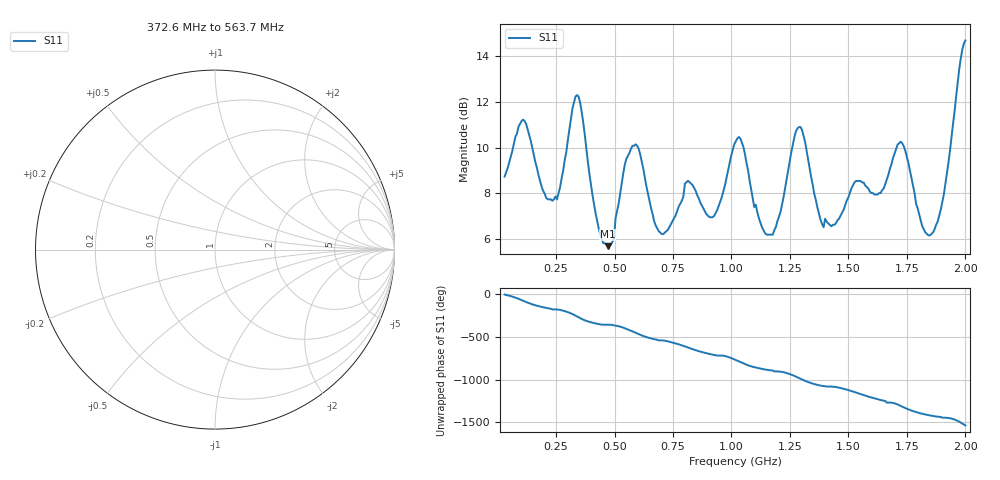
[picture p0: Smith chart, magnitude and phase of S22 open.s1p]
# Hz S DB R 50.000000
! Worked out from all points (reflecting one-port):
!   300 points, 30 MHz to 2 GHz, reference 50 ohm
!   lowest |S11| = 5.7 dB at 471.4 MHz (marker M1)
!   phase of S11 starts at -9 deg and turns -1525 deg over the sweep
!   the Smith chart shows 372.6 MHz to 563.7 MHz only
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3e7  8.73 -9.1
7.61204e7  10.48 -45.0
1.156522e8  11.16 -88.9
1.683612e8  9.10 -139.7
2.803679e8  8.99 162.9
3.198997e8  11.71 124.0
3.462542e8  12.24 85.9
3.791973e8  9.98 43.8
4.714381e8  5.67 0.0
5.241472e8  7.98 -23.4
5.900334e8  10.14 -94.5
6.427425e8  7.98 -150.3
7.745151e8  7.41 131.1
8.140468e8  8.54 93.6
8.733445e8  7.45 40.8
9.721739e8  8.35 -5.1
1.018294e9  10.27 -51.9
1.084181e9  8.16 -125.6
1.262074e9  10.11 130.7
1.295017e9  10.90 89.7
1.341137e9  8.67 38.5
1.512441e9  8.20 -53.1
1.565151e9  8.47 -101.3
1.690334e9  9.53 168.2
1.756221e9  9.33 92.7
1.927525e9  9.33 -7.2
1.960468e9  12.25 -33.3
2e9  14.70 -94.5
